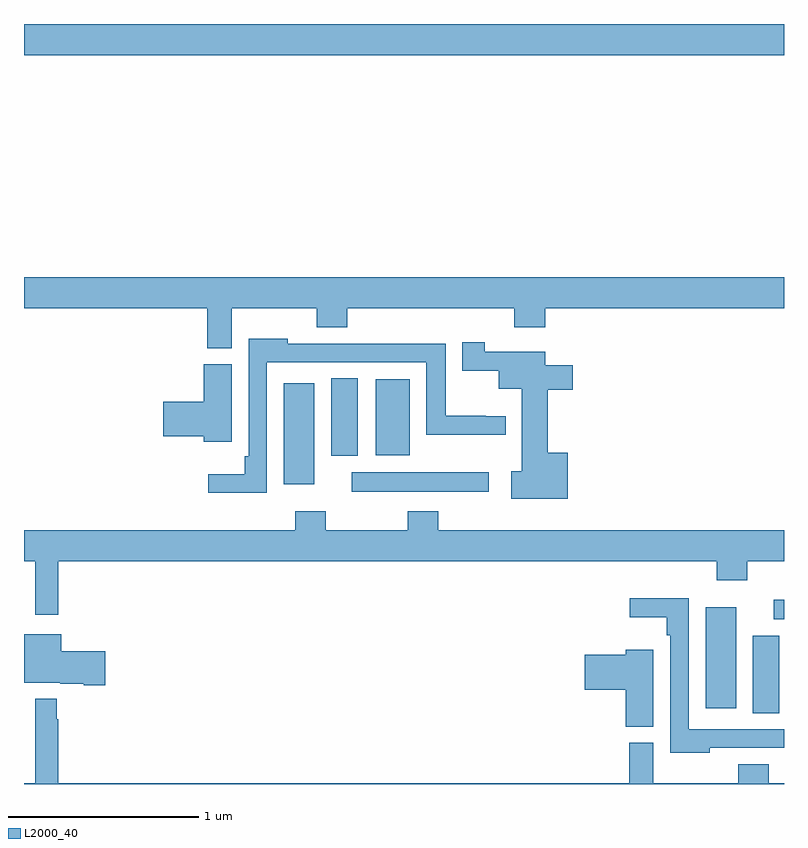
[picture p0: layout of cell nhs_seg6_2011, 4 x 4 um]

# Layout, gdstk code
import gdstk
lib = gdstk.Library(unit=1e-6, precision=1e-09)
def R(c, l, rs):  # rectangles x0, y0, x1, y1
    for r in rs: c.add(gdstk.rectangle(r[:2], r[2:], *l))
def P(c, l, *ps):  # polygons
    for p in ps: c.add(gdstk.Polygon(p, *l))
L2000_40 = (2000, 40)

nhs_seg6_2011 = lib.new_cell('nhs_seg6_2011')
R(nhs_seg6_2011, L2000_40, [(234.836,943.873,234.976,944.281), (234.587,943.899,234.748,944.431), (234.945,944.366,235,944.47), (232.725,945.038,233.446,945.142), (232.367,945.078,232.528,945.61), (232.616,945.227,232.756,945.635), (232.85,945.23,233.029,945.631), (231,947.336,235,947.5)])
P(nhs_seg6_2011, L2000_40, [(232.093,946.004),(232.54,946.004),(232.54,945.905),(232.7,945.905),(232.7,946.004),(233.579,946.004),(233.579,945.905),(233.744,945.905),(233.744,946.004),(235,946.004),(235,946.168),(231,946.168),(231,946.004),(231.965,946.004),(231.965,945.793),(232.093,945.793)],
  [(232.278,945.72),(233.117,945.72),(233.117,945.338),(233.536,945.338),(233.536,945.436),(233.429,945.436),(233.429,945.438),(233.221,945.438),(233.221,945.818),(232.783,945.818),(232.783,945.816),(232.389,945.816),(232.389,945.844),(232.182,945.844),(232.182,945.226),(232.162,945.226),(232.162,945.13),(231.969,945.13),(231.969,945.032),(232.278,945.032)],
  [(233.863,945.244),(233.756,945.244),(233.756,945.574),(233.887,945.574),(233.887,945.703),(233.743,945.703),(233.743,945.775),(233.424,945.775),(233.424,945.826),(233.306,945.826),(233.306,945.676),(233.498,945.676),(233.498,945.581),(233.621,945.581),(233.621,945.147),(233.565,945.147),(233.565,945.002),(233.863,945.002)],
  [(232.093,945.708),(231.947,945.708),(231.947,945.512),(231.732,945.512),(231.732,945.329),(231.947,945.329),(231.947,945.302),(232.093,945.302)],
  [(231.181,944.672),(234.647,944.672),(234.647,944.573),(234.807,944.573),(234.807,944.672),(235,944.672),(235,944.836),(233.18,944.836),(233.18,944.935),(233.02,944.935),(233.02,944.836),(232.587,944.836),(232.587,944.935),(232.427,944.935),(232.427,944.836),(231,944.836),(231,944.672),(231.059,944.672),(231.059,944.391),(231.181,944.391)],
  [(234.609,943.692),(235,943.692),(235,943.788),(234.498,943.788),(234.498,944.477),(234.189,944.477),(234.189,944.378),(234.382,944.378),(234.382,944.282),(234.402,944.282),(234.402,943.664),(234.609,943.664)],
  [(231.427,944.199),(231.196,944.199),(231.196,944.287),(231,944.287),(231,944.033),(231.192,944.033),(231.192,944.027),(231.314,944.027),(231.314,944.021),(231.427,944.021)],
  [(234.313,944.206),(234.167,944.206),(234.167,944.18),(233.952,944.18),(233.952,943.997),(234.167,943.997),(234.167,943.801),(234.313,943.801)],
  [(235,943.504),(234.92,943.504),(234.92,943.603),(234.76,943.603),(234.76,943.504),(234.313,943.504),(234.313,943.716),(234.185,943.716),(234.185,943.504),(231.181,943.504),(231.181,943.841),(231.173,943.841),(231.173,943.948),(231.059,943.948),(231.059,943.504),(231,943.504),(231,943.5),(235,943.5)])

lib.write_gds('nhs_seg6_2011.gds')
